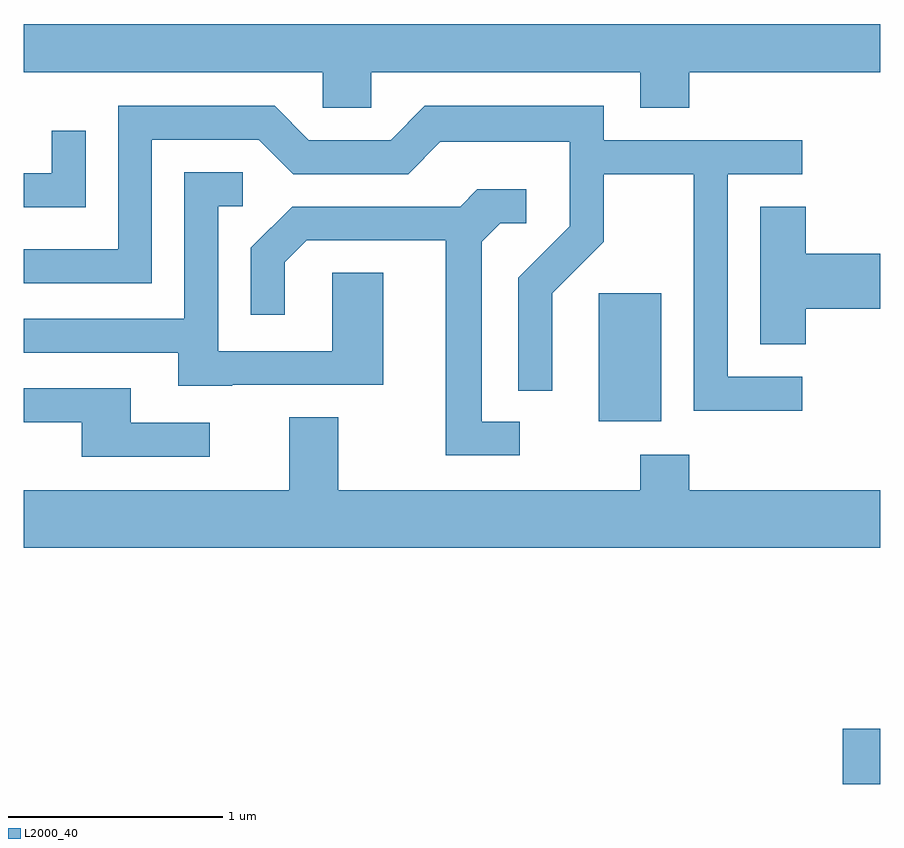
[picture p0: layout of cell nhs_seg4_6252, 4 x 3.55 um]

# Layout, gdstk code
import gdstk
lib = gdstk.Library(unit=1e-6, precision=1e-09)
def R(c, l, rs):  # rectangles x0, y0, x1, y1
    for r in rs: c.add(gdstk.rectangle(r[:2], r[2:], *l))
def P(c, l, *ps):  # polygons
    for p in ps: c.add(gdstk.Polygon(p, *l))
L2000_40 = (2000, 40)

nhs_seg4_6252 = lib.new_cell('nhs_seg4_6252')
R(nhs_seg4_6252, L2000_40, [(371.436,1382.431,371.611,1382.689), (370.296,1384.126,370.589,1384.724)])
P(nhs_seg4_6252, L2000_40, [(369.234,1385.756),(370.491,1385.756),(370.491,1385.591),(370.719,1385.591),(370.719,1385.756),(371.611,1385.756),(371.611,1385.982),(367.611,1385.982),(367.611,1385.756),(369.006,1385.756),(369.006,1385.591),(369.234,1385.591)],
  [(371.248,1384.334),(370.899,1384.334),(370.899,1385.281),(371.248,1385.281),(371.248,1385.439),(370.319,1385.439),(370.319,1385.599),(369.484,1385.599),(369.324,1385.439),(368.942,1385.439),(368.782,1385.599),(368.051,1385.599),(368.051,1384.929),(367.611,1384.929),(367.611,1384.771),(368.209,1384.771),(368.209,1385.441),(368.709,1385.441),(368.869,1385.281),(369.407,1385.281),(369.557,1385.431),(370.161,1385.431),(370.161,1385.037),(369.921,1384.797),(369.921,1384.268),(370.079,1384.268),(370.079,1384.724),(370.319,1384.964),(370.319,1385.281),(370.741,1385.281),(370.741,1384.176),(371.248,1384.176)],
  [(367.899,1385.483),(367.741,1385.483),(367.741,1385.284),(367.611,1385.284),(367.611,1385.126),(367.899,1385.126)],
  [(368.585,1384.296),(369.289,1384.296),(369.289,1384.819),(369.051,1384.819),(369.051,1384.454),(368.519,1384.454),(368.519,1385.131),(368.633,1385.131),(368.633,1385.289),(368.361,1385.289),(368.361,1384.604),(367.611,1384.604),(367.611,1384.446),(368.331,1384.446),(368.331,1384.291),(368.585,1384.291)],
  [(369.928,1384.124),(369.749,1384.124),(369.749,1384.964),(369.837,1385.051),(369.958,1385.051),(369.958,1385.209),(369.729,1385.209),(369.649,1385.129),(368.864,1385.129),(368.671,1384.937),(368.671,1384.623),(368.829,1384.623),(368.829,1384.869),(368.932,1384.971),(369.581,1384.971),(369.581,1383.966),(369.928,1383.966)],
  [(371.264,1384.651),(371.611,1384.651),(371.611,1384.909),(371.264,1384.909),(371.264,1385.129),(371.051,1385.129),(371.051,1384.486),(371.264,1384.486)],
  [(368.478,1384.119),(368.109,1384.119),(368.109,1384.279),(367.611,1384.279),(367.611,1384.121),(367.881,1384.121),(367.881,1383.961),(368.478,1383.961)],
  [(371.611,1383.804),(370.719,1383.804),(370.719,1383.969),(370.491,1383.969),(370.491,1383.804),(369.079,1383.804),(369.079,1384.144),(368.851,1384.144),(368.851,1383.804),(367.611,1383.804),(367.611,1383.536),(371.611,1383.536)])

lib.write_gds('nhs_seg4_6252.gds')
